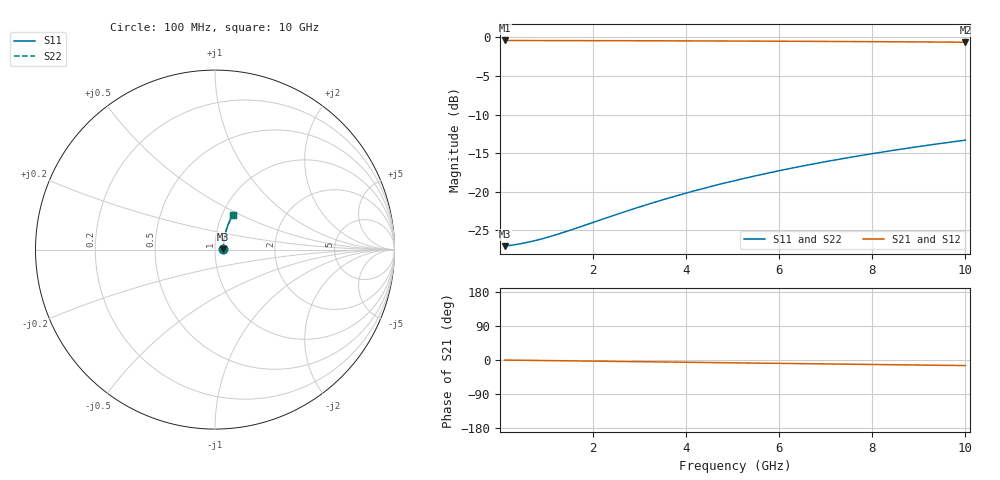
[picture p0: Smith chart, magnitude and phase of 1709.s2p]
# Hz S RI R 50.00
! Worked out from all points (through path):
!   100 points, 100 MHz to 10 GHz, reference 50 ohm
!   highest |S21| = -0.39 dB at 100 MHz (marker M1); lowest = -0.6 dB at 10 GHz (marker M2)
!   group delay of S21, straight-line fit = 4.09 ps
!   lowest |S11| = -27.0 dB at 100 MHz (marker M3), VSWR 1.09, Z = 54.6 + j0.225 ohm
!   |S11| at or under -10 dB: start of sweep to end of sweep
!   |S22| runs from -27.0 to -13.3 dB; largest |S21 - S12| = 0
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1e8  0.0444 0.00205  0.9556 -0.00249  0.9556 -0.00249  0.0444 0.00205
3e8  0.0449 0.00615  0.9551 -0.00747  0.9551 -0.00747  0.0449 0.00615
5e8  0.0453 0.0102  0.9547 -0.0124  0.9547 -0.0124  0.0453 0.0102
8e8  0.0458 0.0164  0.9542 -0.0199  0.9542 -0.0199  0.0458 0.0164
1e9  0.0462 0.0205  0.9538 -0.0248  0.9538 -0.0248  0.0462 0.0205
1.2e9  0.0466 0.0245  0.9534 -0.0298  0.9534 -0.0298  0.0466 0.0245
1.5e9  0.0472 0.0306  0.9528 -0.0372  0.9528 -0.0372  0.0472 0.0306
1.8e9  0.0479 0.0367  0.9521 -0.0446  0.9521 -0.0446  0.0479 0.0367
2.7e9  0.0504 0.0549  0.9495 -0.0668  0.9495 -0.0668  0.0504 0.0549
3.1e9  0.0518 0.063  0.9481 -0.0766  0.9481 -0.0766  0.0518 0.063
3.4e9  0.0529 0.069  0.947 -0.0839  0.947 -0.0839  0.0529 0.069
3.8e9  0.0545 0.0769  0.9453 -0.0936  0.9453 -0.0936  0.0545 0.0769
4.2e9  0.0563 0.0848  0.9435 -0.1033  0.9435 -0.1033  0.0563 0.0848
4.6e9  0.0582 0.0927  0.9415 -0.1129  0.9415 -0.1129  0.0582 0.0927
5.1e9  0.0609 0.1025  0.9389 -0.1248  0.9389 -0.1248  0.0609 0.1025
5.5e9  0.0631 0.1102  0.9365 -0.1343  0.9365 -0.1343  0.0631 0.1102
5.9e9  0.0656 0.1179  0.9341 -0.1438  0.9341 -0.1438  0.0656 0.1179
6.7e9  0.0709 0.133  0.9287 -0.1624  0.9287 -0.1624  0.0709 0.133
7.5e9  0.0768 0.1479  0.9227 -0.1808  0.9227 -0.1808  0.0768 0.1479
8.4e9  0.084 0.1642  0.9152 -0.2011  0.9152 -0.2011  0.084 0.1642
9.2e9  0.0911 0.1784  0.908 -0.2188  0.908 -0.2188  0.0911 0.1784
1e10  0.0986 0.1921  0.9003 -0.2361  0.9003 -0.2361  0.0986 0.1921
